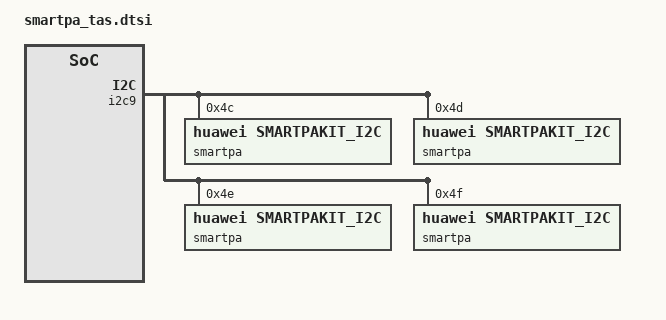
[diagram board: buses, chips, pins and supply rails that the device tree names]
&i2c9 {
			#address-cells = <1>;
			#size-cells = <0>;
			smartpa@4C {
				compatible = "huawei,smartpakit_i2c";
				reg = <0x4C>;
				/* 0 MAXIM, 1 NXP, 2 TI, 3 OTHER, 4:huawei customize */
				chip_vendor = <4>;
				/* refer to smartpakit.out_device prop */
				chip_id = <0>;
				chip_model = "02-01";
				/* maybe trigger one irq after some chip reset, ext. tas2560
				* debounce wait time unit: msecs */
				reset_debounce_wait_time = <200>;
				sync_irq_debounce_time;
				status = "okay";

				/* reg_ctl node: a node contains three data<addr value ctl_type>
				* ctl_type: 0 read reg(default), 1 write reg, 2 only time delay
				* value:
				*     read:  reg number(num >= 1)
				*     write: reg value
				*     delay: time delay
				* time delay unit: msecs */
				version_regs = <
					0	0	1
					125	1	0
					>;
				dump_regs = <
					0	0	1
					0	128	0
					0	50	1
					0	128	0
					0	51	1
					0	128	0
					0	52	1
					0	128	0
				>;
				hw_reset {
					gpio_reset = <&pio 30 0>; /* GPIO 30 */
					/* gpio_state node: a node contains two data<state delay>
					* time delay unit: msecs */
					ctl_sequence = <0 3 1 2>;
				};

				irq_handler {
					gpio_irq = <&pio 31 0>; /* GPIO 31 */
					/* 0x0 IRQF_TRIGGER_NONE, 0x1 IRQF_TRIGGER_RISING, 0x2 IRQF_TRIGGER_FALLING, 0x4 IRQF_TRIGGER_HIGH, 0x8 IRQF_TRIGGER_LOW*/
					irq_flags = <2>;
					/* whether or not need reset chip*/
					need_reset;
					need_filter_irq;
					rw_sequence = <
						0	20	2
						0	0	1
						26	1	0
						27	1	0
						31	1	0
						32	1	0
						36	1	0
						37	1	0
						2	1	0
						120	1	0
					>;
				};

				regmap_cfg {
					reg_bits = <8>;
					val_bits = <8>;
					/* 0 REGCACHE_NONE, 1 REGCACHE_RBTREE, 2 REGCACHE_COMPRESSED, 3 REGCACHE_FLAT */
					cache_type = <0>;
					max_register = <128>;
				};
			};

			smartpa@4D {
				compatible = "huawei,smartpakit_i2c";
				reg = <0x4D>;
				/* 0 MAXIM, 1 NXP, 2 TI, 3 OTHER, 4:huawei customize */
				chip_vendor = <4>;
				/* refer to smartpakit.out_device prop */
				chip_id = <1>;
				chip_model = "02-01";
				/* maybe trigger one irq after some chip reset, ext. tas2560
				* debounce wait time unit: msecs */
				reset_debounce_wait_time = <200>;
				sync_irq_debounce_time;
				status = "okay";

				/* reg_ctl node: a node contains three data<addr value ctl_type>
				* ctl_type: 0 read reg(default), 1 write reg, 2 only time delay
				* value:
				*     read:  reg number(num >= 1)
				*     write: reg value
				*     delay: time delay
				* time delay unit: msecs */
				version_regs = <
					0	0	1
					125	1	0
					>;
				dump_regs = <
					0	0	1
					0	128	0
					0	50	1
					0	128	0
					0	51	1
					0	128	0
					0	52	1
					0	128	0
				>;
				hw_reset {
					gpio_reset = <&pio 30 0>; /* GPIO 30 */
					/* gpio_state node: a node contains two data<state delay>
					* time delay unit: msecs */
					ctl_sequence = <0 3 1 2>;
				};

				irq_handler {
					gpio_irq = <&pio 83 0>; /* GPIO 83 */
					/* 0x0 IRQF_TRIGGER_NONE, 0x1 IRQF_TRIGGER_RISING, 0x2 IRQF_TRIGGER_FALLING, 0x4 IRQF_TRIGGER_HIGH, 0x8 IRQF_TRIGGER_LOW*/
					irq_flags = <2>;
					/* whether or not need reset chip*/
					need_reset;
					need_filter_irq;
					rw_sequence = <
						0	20	2
						0	0	1
						26	1	0
						27	1	0
						31	1	0
						32	1	0
						36	1	0
						37	1	0
						2	1	0
						120	1	0
					>;
				};

				regmap_cfg {
					reg_bits = <8>;
					val_bits = <8>;
					/* 0 REGCACHE_NONE, 1 REGCACHE_RBTREE, 2 REGCACHE_COMPRESSED, 3 REGCACHE_FLAT */
					cache_type = <0>;
					max_register = <128>;
				};
			};

			smartpa@4E {
				compatible = "huawei,smartpakit_i2c";
				reg = <0x4E>;
				/* 0 MAXIM, 1 NXP, 2 TI, 3 OTHER, 4:huawei customize */
				chip_vendor = <4>;
				/* refer to smartpakit.out_device prop */
				chip_id = <2>;
				chip_model = "02-01";
				/* maybe trigger one irq after some chip reset, ext. tas2560
				* debounce wait time unit: msecs */
				reset_debounce_wait_time = <200>;
				sync_irq_debounce_time;
				status = "okay";

				/* reg_ctl node: a node contains three data<addr value ctl_type>
				* ctl_type: 0 read reg(default), 1 write reg, 2 only time delay
				* value:
				*     read:  reg number(num >= 1)
				*     write: reg value
				*     delay: time delay
				* time delay unit: msecs */
				version_regs = <
					0	0	1
					125	1	0
					>;
				dump_regs = <
					0	0	1
					0	128	0
					0	50	1
					0	128	0
					0	51	1
					0	128	0
					0	52	1
					0	128	0
				>;
				hw_reset {
					gpio_reset = <&pio 30 0>; /* GPIO 30 */
					/* gpio_state node: a node contains two data<state delay>
					* time delay unit: msecs */
					ctl_sequence = <0 3 1 2>;
				};

				irq_handler {
					gpio_irq = <&pio 194 0>; /* GPIO 194 */
					/* 0x0 IRQF_TRIGGER_NONE, 0x1 IRQF_TRIGGER_RISING, 0x2 IRQF_TRIGGER_FALLING, 0x4 IRQF_TRIGGER_HIGH, 0x8 IRQF_TRIGGER_LOW*/
					irq_flags = <2>;
					/* whether or not need reset chip*/
					need_reset;
					need_filter_irq;
					rw_sequence = <
						0	20	2
						0	0	1
						26	1	0
						27	1	0
						31	1	0
						32	1	0
						36	1	0
						37	1	0
						2	1	0
						120	1	0
					>;
				};

				regmap_cfg {
					reg_bits = <8>;
					val_bits = <8>;
					/* 0 REGCACHE_NONE, 1 REGCACHE_RBTREE, 2 REGCACHE_COMPRESSED, 3 REGCACHE_FLAT */
					cache_type = <0>;
					max_register = <128>;
				};
			};

			smartpa@4F {
				compatible = "huawei,smartpakit_i2c";
				reg = <0x4F>;
				/* 0 MAXIM, 1 NXP, 2 TI, 3 OTHER, 4:huawei customize */
				chip_vendor = <4>;
				/* refer to smartpakit.out_device prop */
				chip_id = <3>;
				chip_model = "02-01";
				/* maybe trigger one irq after some chip reset, ext. tas2560
				* debounce wait time unit: msecs */
				reset_debounce_wait_time = <200>;
				sync_irq_debounce_time;
				status = "okay";

				/* reg_ctl node: a node contains three data<addr value ctl_type>
				* ctl_type: 0 read reg(default), 1 write reg, 2 only time delay
				* value:
				*     read:  reg number(num >= 1)
				*     write: reg value
				*     delay: time delay
				* time delay unit: msecs */
				version_regs = <
					0	0	1
					125	1	0
					>;
				dump_regs = <
					0	0	1
					0	128	0
					0	50	1
					0	128	0
					0	51	1
					0	128	0
					0	52	1
					0	128	0
				>;
				hw_reset {
					gpio_reset = <&pio 30 0>; /* GPIO 30 */
					/* gpio_state node: a node contains two data<state delay>
					* time delay unit: msecs */
					ctl_sequence = <0 3 1 2>;
				};

				irq_handler {
					gpio_irq = <&pio 73 0>; /* GPIO 73 */
					/* 0x0 IRQF_TRIGGER_NONE, 0x1 IRQF_TRIGGER_RISING, 0x2 IRQF_TRIGGER_FALLING, 0x4 IRQF_TRIGGER_HIGH, 0x8 IRQF_TRIGGER_LOW*/
					irq_flags = <2>;
					/* whether or not need reset chip*/
					need_reset;
					need_filter_irq;
					rw_sequence = <
						0	20	2
						0	0	1
						26	1	0
						27	1	0
						31	1	0
						32	1	0
						36	1	0
						37	1	0
						2	1	0
						120	1	0
					>;
				};

				regmap_cfg {
					reg_bits = <8>;
					val_bits = <8>;
					/* 0 REGCACHE_NONE, 1 REGCACHE_RBTREE, 2 REGCACHE_COMPRESSED, 3 REGCACHE_FLAT */
					cache_type = <0>;
					max_register = <128>;
				};
			};
};
